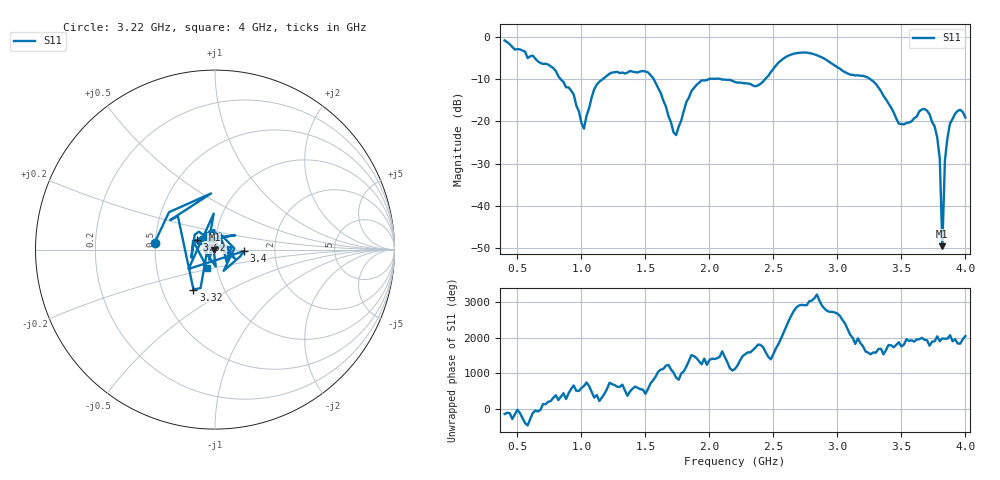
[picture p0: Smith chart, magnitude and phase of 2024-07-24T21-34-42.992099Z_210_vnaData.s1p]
!Created with skrf (http://scikit-rf.org).
# Hz S RI R 50.0
!freq ReS11 ImS11
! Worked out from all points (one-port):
!   181 points, 400 MHz to 4 GHz, reference 50 ohm
!   lowest |S11| = -49.6 dB at 3.82 GHz (marker M1), VSWR 1.01, Z = 49.7 - j0.0125 ohm
!   |S11| at or under -10 dB: 838.2 MHz to 1.165 GHz (327.2 MHz wide, 32.7 % of centre); 1.565 GHz to 1.993 GHz (427.7 MHz wide, 24 % of centre); 3.257 GHz to end of sweep (the widest 3 of 4)
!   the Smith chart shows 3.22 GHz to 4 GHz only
!   S11 on the Smith chart (normalised r, x): 3.22 GHz: 0.49, +0.04; 3.32 GHz: 0.72, -0.34; 3.4 GHz: 1.39, -0.02; 3.62 GHz: 0.81, +0.09; 4 GHz: 0.90, -0.19
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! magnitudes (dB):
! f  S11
! 400 MHz  -0.8
! 860 MHz  -10.7
! 940 MHz  -13.6
! 1.02 GHz  -21.7
! 1.12 GHz  -11.3
! 1.3 GHz  -8.6
! 1.52 GHz  -8.4
! 1.72 GHz  -22.6
! 1.76 GHz  -21.3
! 1.94 GHz  -10.3
! 2.2 GHz  -10.7
! 2.38 GHz  -11.5
! 2.66 GHz  -3.9
! 3.1 GHz  -8.9
! 3.22 GHz  -9.4
! 3.32 GHz  -11.9
! 3.4 GHz  -15.8
! 3.48 GHz  -20.5
! 3.56 GHz  -20.3
! 3.62 GHz  -18.9
! 3.7 GHz  -17.5
! 3.78 GHz  -23.8
! 3.8 GHz  -28.9
! 3.82 GHz  -49.6
! 3.84 GHz  -29.2
! 3.86 GHz  -23.9
! 3.92 GHz  -18.2
! 4 GHz  -19.1
